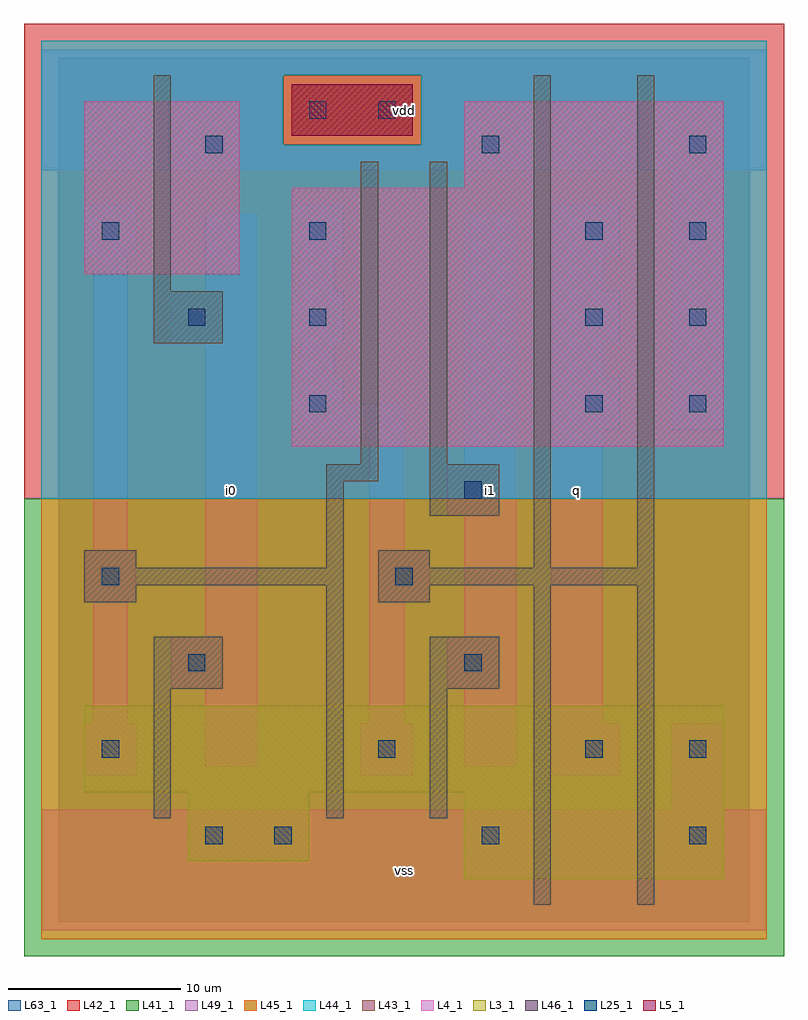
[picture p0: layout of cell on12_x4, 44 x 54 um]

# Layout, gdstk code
import gdstk
lib = gdstk.Library(unit=1e-6, precision=1e-09)
def R(c, l, rs):  # rectangles x0, y0, x1, y1
    for r in rs: c.add(gdstk.rectangle(r[:2], r[2:], *l))
def A(c, l, x, y, w, h, nx, ny, dx, dy):  # array of equal rectangles
    R(c, l, [(x+i*dx, y+j*dy, x+i*dx+w, y+j*dy+h) for i in range(nx) for j in range(ny)])
L3_1 = (3, 1)
L4_1 = (4, 1)
L5_1 = (5, 1)
L25_1 = (25, 1)
L41_1 = (41, 1)
L42_1 = (42, 1)
L43_1 = (43, 1)
L44_1 = (44, 1)
L45_1 = (45, 1)
L46_1 = (46, 1)
L49_1 = (49, 1)
L63_1 = (63, 1)

on12_x4 = lib.new_cell('on12_x4')
R(on12_x4, L3_1, [(23.5,2.5,38.5,7.5), (7.5,3.5,14.5,7.5), (1.5,7.5,38.5,12.5)])
R(on12_x4, L4_1, [(13.5,27.5,38.5,42.5), (1.5,37.5,10.5,47.5), (23.5,42.5,38.5,47.5)])
R(on12_x4, L5_1, [(13.5,45.5,20.5,48.5)])
A(on12_x4, L25_1, 12.5, 4.5, 1, 1, 3, 1, 12, 0)
A(on12_x4, L25_1, 14.5, 29.5, 1, 1, 1, 3, 0, 5)
A(on12_x4, L25_1, 30.5, 29.5, 1, 1, 1, 3, 0, 5)
A(on12_x4, L25_1, 36.5, 29.5, 1, 1, 1, 4, 0, 5)
R(on12_x4, L25_1, [(8.5,4.5,9.5,5.5), (2.5,9.5,3.5,10.5), (18.5,9.5,19.5,10.5), (30.5,9.5,31.5,10.5), (36.5,9.5,37.5,10.5), (7.5,14.5,8.5,15.5), (23.5,14.5,24.5,15.5), (2.5,19.5,3.5,20.5), (19.5,19.5,20.5,20.5), (23.5,24.5,24.5,25.5), (7.5,34.5,8.5,35.5), (2.5,39.5,3.5,40.5), (8.5,44.5,9.5,45.5), (24.5,44.5,25.5,45.5), (14.5,46.5,15.5,47.5), (18.5,46.5,19.5,47.5)])
R(on12_x4, L41_1, [(-2,-2,42,24.5)])
R(on12_x4, L42_1, [(-2,24.5,42,52)])
R(on12_x4, L43_1, [(23.5,2.5,38.5,7.5), (7.5,3.5,14.5,7.5), (1.5,7.5,38.5,12.5), (13.5,27.5,38.5,42.5), (1.5,37.5,10.5,47.5), (23.5,42.5,38.5,47.5), (13.5,45.5,20.5,48.5)])
R(on12_x4, L44_1, [(-1,24.5,41,45), (-1,45,13,49), (21,45,41,49), (-1,49,41,51)])
R(on12_x4, L45_1, [(-1,-1,41,24.5), (13,45,21,49)])
R(on12_x4, L46_1, [(27.5,1,28.5,19.5), (33.5,1,34.5,19.5), (5.5,6,6.5,13.5), (15.5,6,16.5,19.5), (21.5,6,22.5,13.5), (5.5,13.5,9.5,16.5), (21.5,13.5,25.5,16.5), (1.5,18.5,4.5,19.5), (18.5,18.5,21.5,19.5), (1.5,19.5,16.5,20.5), (18.5,19.5,34.5,20.5), (1.5,20.5,4.5,21.5), (15.5,20.5,16.5,25.5), (18.5,20.5,21.5,21.5), (27.5,20.5,28.5,49), (33.5,20.5,34.5,49), (21.5,23.5,25.5,26.5), (15.5,25.5,18.5,26.5), (17.5,26.5,18.5,44), (21.5,26.5,22.5,44), (5.5,33.5,9.5,36.5), (5.5,36.5,6.5,49)])
A(on12_x4, L49_1, 28.5, 28.5, 4, 3, 1, 3, 0, 5)
R(on12_x4, L49_1, [(-1,-0.5,41,6.5), (35.5,6.5,38.5,11.5), (1.5,8.5,4.5,11.5), (17.5,8.5,20.5,11.5), (28.5,8.5,32.5,11.5), (8.5,9,11.5,13.5), (23.5,9,26.5,13.5), (2,11.5,4,18.5), (18,11.5,20,18.5), (28.5,11.5,31.5,28.5), (6.5,13.5,11.5,16.5), (22.5,13.5,26.5,16.5), (8.5,16.5,11.5,33.5), (23.5,16.5,26.5,23.5), (1.5,18.5,4.5,21.5), (18,18.5,21.5,21.5), (2,21.5,4,38.5), (18,21.5,20,28), (22.5,23.5,26.5,26.5), (23.5,26.5,26.5,41), (14,28,20,28.5), (13.5,28.5,20,30), (35.5,28.5,38.5,43.5), (13.5,30,16.5,31.5), (14,31.5,16,33.5), (28.5,31.5,31.5,33.5), (6.5,33.5,11.5,36.5), (13.5,33.5,16.5,36.5), (8.5,36.5,11.5,41), (14,36.5,16,38.5), (28.5,36.5,31.5,38.5), (1.5,38.5,4.5,41.5), (13.5,38.5,16.5,41.5), (-1,43.5,41,50.5)])
R(on12_x4, L63_1, [(0,0,40,50)])
on12_x4.add(gdstk.Label('i0', (10,25), layer=49, texttype=1))
on12_x4.add(gdstk.Label('i0', (10,25), layer=49, texttype=1))
on12_x4.add(gdstk.Label('vss', (20,3), layer=49, texttype=1))
on12_x4.add(gdstk.Label('vss', (20,3), layer=49, texttype=1))
on12_x4.add(gdstk.Label('i1', (25,25), layer=49, texttype=1))
on12_x4.add(gdstk.Label('q', (30,25), layer=49, texttype=1))
on12_x4.add(gdstk.Label('i1', (25,25), layer=49, texttype=1))
on12_x4.add(gdstk.Label('q', (30,25), layer=49, texttype=1))
on12_x4.add(gdstk.Label('vdd', (20,47), layer=49, texttype=1))
on12_x4.add(gdstk.Label('vdd', (20,47), layer=49, texttype=1))

lib.write_gds('on12_x4.gds')
